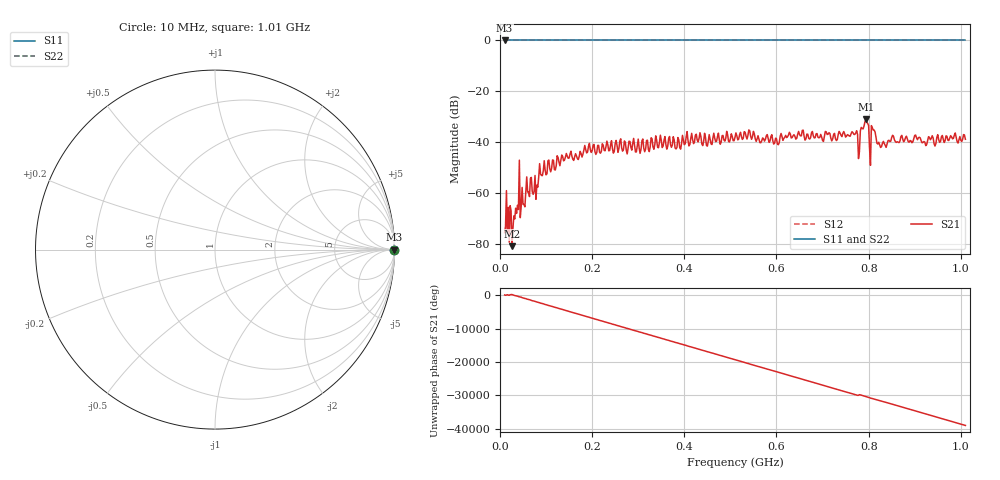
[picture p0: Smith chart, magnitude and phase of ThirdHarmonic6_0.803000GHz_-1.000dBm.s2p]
! 8/16/2025 2:46:27 AM
! C:\ANRITSUVNA\TEMP\TEMP.S2P
! CHANNEL.1
! TR.MEASUREMENT
! RAW.DATA
! RF.CORRECTION.OFF
! AVERAGING.OFF
! IF.BANDWIDTH: 5KHZ
! SWEEPTYPE:  FREQ.SWEEP(Linear)
! Reference Plane Port Info
! PORT:  PORT1  PORT2
! DISTANCE:  0  m  0  m
! TIME:  0  s  0  s
! PHASE.OFFSET:  0  deg.  0  deg.
! LOSS:  0  dB  0  dB
! REF.LOSS:  0  dB  0  dB
! REF.FREQ:  0  Hz  0  Hz
! Power Info
! POWER:  -20  dBm  -20  dBm
! EFF.POWER:  -20  dBm  -20  dBm
! SOURCE.ATTEN:  0  dB  0  dB
! TEST.ATTEN:  0  dB  0  dB
# GHZ S RI R 50.0
! FREQ.GHZ  S11RE  S11IM  S21RE  S21IM  S12RE  S12IM  S22RE  S22IM
!; PortSelection: Port_12
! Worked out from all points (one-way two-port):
!   501 points, 10 MHz to 1.01 GHz, reference 50 ohm
!   highest |S21| = -31.02 dB at 794 MHz (marker M1); lowest = -80.9 dB at 26 MHz (marker M2)
!   lowest |S11| = 0.0 dB at 10 MHz (marker M3)
!   |S11| at or under -10 dB: nowhere
!   |S22| runs from 0.0 to 0.0 dB; largest |S21 - S12| = 1
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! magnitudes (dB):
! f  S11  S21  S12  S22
! 10 MHz  0.0  -75.7  0.0  0.0
! 18 MHz  0.0  -65.7  0.0  0.0
! 26 MHz  0.0  -80.9  0.0  0.0
! 30 MHz  0.0  -69.0  0.0  0.0
! 38 MHz  0.0  -64.8  0.0  0.0
! 46 MHz  0.0  -65.4  0.0  0.0
! 48 MHz  0.0  -57.8  0.0  0.0
! 62 MHz  0.0  -59.6  0.0  0.0
! 74 MHz  0.0  -59.4  0.0  0.0
! 90 MHz  0.0  -53.1  0.0  0.0
! 178 MHz  0.0  -45.9  0.0  0.0
! 344 MHz  0.0  -42.2  0.0  0.0
! 510 MHz  0.0  -38.1  0.0  0.0
! 678 MHz  0.0  -35.8  0.0  0.0
! 770 MHz  0.0  -37.0  0.0  0.0
! 776 MHz  0.0  -37.0  0.0  0.0
! 794 MHz  0.0  -31.0  0.0  0.0
! 806 MHz  0.0  -33.5  0.0  0.0
! 810 MHz  0.0  -35.3  0.0  0.0
! 822 MHz  0.0  -40.1  0.0  0.0
! 844 MHz  0.0  -39.3  0.0  0.0
! 1.01 GHz  0.0  -38.9  0.0  0.0
